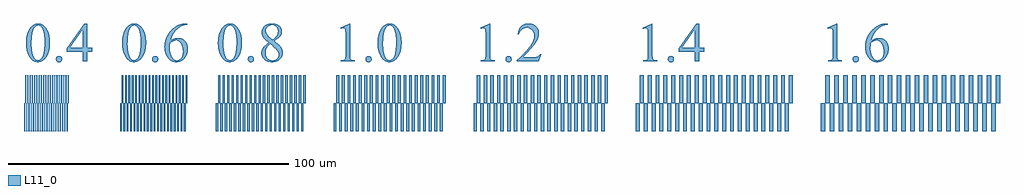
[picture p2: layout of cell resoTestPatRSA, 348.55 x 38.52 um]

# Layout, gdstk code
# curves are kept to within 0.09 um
import gdstk
lib = gdstk.Library(unit=1e-6, precision=1e-09)
def R(c, l, rs):  # rectangles x0, y0, x1, y1
    for r in rs: c.add(gdstk.rectangle(r[:2], r[2:], *l))
def A(c, l, x, y, w, h, nx, ny, dx, dy):  # array of equal rectangles
    R(c, l, [(x+i*dx, y+j*dy, x+i*dx+w, y+j*dy+h) for i in range(nx) for j in range(ny)])
def P(c, l, *ps):  # polygons
    for p in ps: c.add(gdstk.Polygon(p, *l))
L11_0 = (11, 0)

resotestpatrsa = lib.new_cell('resoTestPatRSA')
A(resotestpatrsa, L11_0, 0, 0, 0.4, 10, 6, 1, 0.8, 0)
A(resotestpatrsa, L11_0, 11.2, 0, 0.4, 10, 3, 1, 1.6, 0)
A(resotestpatrsa, L11_0, 36.713, 0, 0.6, 10, 3, 1, 6, 0)
A(resotestpatrsa, L11_0, 68.547, 0, 0.8, 10, 20, 1, 1.6, 0)
A(resotestpatrsa, L11_0, 110.547, 0, 1, 10, 20, 1, 2, 0)
A(resotestpatrsa, L11_0, 160.547, 0, 1.2, 10, 20, 1, 2.4, 0)
A(resotestpatrsa, L11_0, 218.547, 0, 1.4, 10, 20, 1, 2.8, 0)
A(resotestpatrsa, L11_0, 284.547, 0, 1.6, 10, 20, 1, 3.2, 0)
A(resotestpatrsa, L11_0, 0.4, 10, 0.4, 10, 6, 1, 0.8, 0)
A(resotestpatrsa, L11_0, 7.6, 10, 0.4, 10, 3, 1, 0.8, 0)
A(resotestpatrsa, L11_0, 69.347, 10, 0.8, 10, 20, 1, 1.6, 0)
A(resotestpatrsa, L11_0, 111.547, 10, 1, 10, 20, 1, 2, 0)
A(resotestpatrsa, L11_0, 161.747, 10, 1.2, 10, 20, 1, 2.4, 0)
A(resotestpatrsa, L11_0, 219.947, 10, 1.4, 10, 20, 1, 2.8, 0)
A(resotestpatrsa, L11_0, 286.147, 10, 1.6, 10, 20, 1, 3.2, 0)
R(resotestpatrsa, L11_0, [(6.4,0,6.8,10), (8,0,8.4,10), (8.8,0,9.2,10), (10.4,0,10.8,10), (15.2,0,15.6,10), (34.313,0,34.912,10), (35.513,0,36.112,10), (37.912,0,38.513,10), (39.112,0,39.713,10), (40.313,0,40.912,10), (41.513,0,42.112,10), (43.912,0,44.513,10), (45.112,0,45.713,10), (46.313,0,46.912,10), (47.513,0,48.112,10), (49.912,0,50.513,10), (53.513,0,54.112,10), (10.8,10,11.2,20), (12.4,10,12.8,20), (13.2,10,13.6,20), (14.8,10,15.2,20), (15.6,10,16,20), (34.912,10,35.513,20), (36.112,10,36.713,20), (37.313,10,37.912,20), (38.513,10,39.112,20), (39.713,10,40.313,20), (40.912,10,41.513,20), (42.112,10,42.713,20), (43.313,10,43.912,20), (44.513,10,45.112,20), (45.713,10,46.313,20), (46.912,10,47.513,20), (48.112,10,48.713,20), (49.313,10,49.912,20), (50.513,10,51.112,20), (56.513,10,57.112,20)])
P(resotestpatrsa, L11_0, [(4.8,0),(4.8,10),(5.2,10),(5.2,20),(5.6,20),(5.6,10),(5.2,10),(5.2,0)],
  [(5.6,0),(5.6,10),(6,10),(6,20),(6.4,20),(6.4,10),(6,10),(6,0)],
  [(7.2,0),(7.2,10),(6.8,10),(6.8,20),(7.2,20),(7.2,10),(7.6,10),(7.6,0)],
  [(9.6,0),(9.6,10),(10,10),(10,20),(10.4,20),(10.4,10),(10,10),(10,0)],
  [(12,0),(12,10),(11.6,10),(11.6,20),(12,20),(12,10),(12.4,10),(12.4,0)],
  [(13.6,0),(13.6,10),(14,10),(14,20),(14.4,20),(14.4,10),(14,10),(14,0)],
  [(12.5,24.719),(11.734,25.039),(11.422,25.813),(11.734,26.578),(12.5,26.891),(13.266,26.578),(13.578,25.813),(13.266,25.039)],
  [(4.938,24.766),(3.977,24.923),(3.133,25.375),(5.035,25.377),(5.645,25.561),(6.388,26.211),(6.884,27.301),(7.288,29.766),(7.359,32.995),(7.066,35.358),(6.443,37.011),(6,37.547),(5.431,37.829),(4.745,37.847),(4.146,37.568),(3.675,37.064),(3.284,36.315),(2.832,34.292),(2.647,30.793),(2.988,27.891),(3.348,26.753),(3.762,26.008),(4.337,25.518),(4.969,25.375),(3.133,25.375),(2.107,26.476),(1.475,27.61),(1.055,28.801),(0.785,30.267),(0.719,31.688),(1.044,34.363),(1.406,35.445),(1.983,36.552),(2.621,37.361),(3.442,38.025),(4.236,38.393),(5.047,38.516),(5.876,38.393),(6.658,38.026),(7.472,37.331),(8.133,36.467),(8.635,35.485),(8.994,34.372),(9.281,31.606),(8.967,28.903),(8.069,26.745),(7.419,25.911),(6.675,25.322),(5.796,24.905)],
  [(20.922,25),(20.922,28.5),(15.313,28.5),(15.313,29.75),(15.411,29.891),(20.922,29.891),(20.922,36.453),(16.266,29.891),(15.411,29.891),(21.453,38.516),(22.531,38.516),(22.531,29.891),(24.313,29.891),(24.313,28.5),(22.531,28.5),(22.531,25)],
  [(51.112,0),(51.112,10),(51.713,10),(51.713,20),(52.313,20),(52.313,10),(51.713,10),(51.713,0)],
  [(52.313,0),(52.313,10),(52.912,10),(52.912,20),(53.513,20),(53.513,10),(52.912,10),(52.912,0)],
  [(54.713,0),(54.713,10),(54.112,10),(54.112,20),(54.713,20),(54.713,10),(55.313,10),(55.313,0)],
  [(55.912,0),(55.912,10),(55.313,10),(55.313,20),(55.912,20),(55.912,10),(56.513,10),(56.513,0)],
  [(57.112,0),(57.112,10),(57.713,10),(57.713,20),(58.313,20),(58.313,10),(57.713,10),(57.713,0)],
  [(46.813,24.719),(46.047,25.039),(45.734,25.813),(46.047,26.578),(46.813,26.891),(47.578,26.578),(47.891,25.813),(47.578,25.039)],
  [(39.25,24.766),(38.29,24.923),(37.446,25.375),(39.348,25.377),(39.958,25.561),(40.701,26.211),(41.196,27.301),(41.601,29.766),(41.671,32.995),(41.378,35.358),(40.755,37.011),(40.313,37.547),(39.744,37.829),(39.057,37.847),(38.459,37.568),(37.988,37.064),(37.597,36.315),(37.145,34.292),(36.959,30.793),(37.3,27.891),(37.661,26.753),(38.074,26.008),(38.65,25.518),(39.281,25.375),(37.446,25.375),(36.42,26.476),(35.788,27.61),(35.367,28.801),(35.115,30.113),(35.032,31.688),(35.356,34.363),(36.243,36.469),(36.933,37.361),(37.643,37.953),(38.491,38.375),(39.359,38.516),(40.278,38.365),(41.055,37.97),(41.863,37.245),(42.526,36.335),(43.008,35.334),(43.346,34.202),(43.593,31.606),(43.251,28.789),(42.331,26.666),(41.673,25.852),(40.924,25.283),(40.108,24.905)],
  [(54.328,24.766),(53.293,24.915),(52.471,25.313),(55.077,25.376),(55.744,25.728),(56.324,26.385),(56.703,27.389),(56.791,28.713),(56.609,30.045),(56.174,31.212),(55.446,32.128),(54.474,32.505),(53.461,32.359),(52.203,31.688),(52.043,29.19),(52.466,27.249),(52.87,26.424),(53.406,25.766),(53.957,25.426),(54.609,25.313),(52.471,25.313),(51.175,26.668),(50.412,28.33),(50.173,30.313),(50.478,32.45),(50.974,33.769),(51.685,34.993),(52.599,36.098),(53.66,37.049),(54.693,37.738),(55.761,38.187),(57.048,38.474),(58.281,38.516),(58.281,38.156),(56.275,37.688),(55.464,37.223),(54.563,36.461),(53.309,34.824),(52.464,32.721),(52.375,32.391),(53.605,33.053),(54.748,33.336),(56.233,33.179),(56.956,32.794),(57.668,32.126),(58.116,31.44),(58.429,30.561),(58.547,29.453),(58.448,28.445),(58.109,27.4),(57.594,26.508),(56.88,25.697),(56.129,25.18),(55.278,24.869)],
  [(81.047,24.719),(80.281,25.039),(79.969,25.813),(80.281,26.578),(81.047,26.891),(81.813,26.578),(82.125,25.813),(81.813,25.039)],
  [(73.484,24.766),(72.524,24.923),(71.68,25.375),(73.582,25.377),(74.192,25.561),(74.935,26.211),(75.431,27.301),(75.835,29.766),(75.905,32.995),(75.636,35.254),(74.99,37.011),(74.547,37.547),(73.978,37.829),(73.292,37.847),(72.693,37.568),(72.222,37.064),(71.831,36.315),(71.379,34.292),(71.193,30.793),(71.535,27.891),(71.895,26.753),(72.309,26.008),(72.884,25.518),(73.516,25.375),(71.68,25.375),(70.654,26.476),(70.022,27.61),(69.602,28.801),(69.332,30.267),(69.266,31.688),(69.591,34.363),(70.477,36.469),(71.167,37.361),(71.877,37.953),(72.725,38.375),(73.594,38.516),(74.512,38.365),(75.289,37.97),(76.097,37.245),(76.76,36.335),(77.242,35.334),(77.581,34.202),(77.826,31.464),(77.485,28.789),(76.565,26.666),(75.966,25.911),(75.222,25.322),(74.405,24.925)],
  [(88.531,24.766),(87.338,24.906),(86.387,25.297),(88.883,25.302),(89.695,25.464),(90.598,26.122),(91.006,27.121),(90.963,27.836),(90.686,28.523),(89.023,30.315),(87.844,31.297),(86.691,29.905),(86.256,28.295),(86.363,27.128),(86.854,26.151),(87.664,25.511),(88.688,25.297),(86.387,25.297),(86.176,25.434),(85.594,25.953),(85.122,26.62),(84.846,27.331),(84.766,28.07),(84.951,28.998),(85.428,29.867),(86.154,30.67),(87.391,31.672),(86.204,32.719),(88.922,32.719),(90.051,33.856),(90.543,34.69),(90.705,36.073),(90.307,37.174),(89.868,37.595),(89.357,37.841),(88.093,37.917),(87.288,37.628),(86.71,37.113),(86.389,36.491),(86.353,35.71),(86.586,35.008),(87.04,34.335),(88.922,32.719),(86.204,32.719),(85.253,33.931),(84.97,34.735),(84.915,35.599),(85.096,36.424),(85.464,37.098),(86.09,37.752),(86.814,38.188),(87.577,38.425),(88.547,38.516),(89.665,38.394),(90.605,38.028),(91.465,37.315),(91.972,36.47),(92.091,35.39),(91.703,34.341),(90.895,33.419),(89.375,32.328),(91.656,30.25),(92.207,29.223),(92.391,28.141),(92.091,26.776),(91.261,25.697),(90.098,25.014)],
  [(123.047,24.719),(122.281,25.039),(121.969,25.813),(122.281,26.578),(123.047,26.891),(123.813,26.578),(124.125,25.813),(123.813,25.039)],
  [(113.125,25),(113.125,25.359),(114.299,25.505),(114.614,25.743),(114.767,26.083),(114.822,35.14),(114.746,36.287),(114.499,36.779),(113.952,36.933),(113.031,36.641),(112.891,36.938),(116.109,38.516),(116.438,38.516),(116.482,26.198),(116.782,25.605),(117.218,25.431),(118.109,25.359),(118.109,25)],
  [(130.484,24.766),(129.524,24.923),(128.68,25.375),(130.582,25.377),(131.192,25.561),(131.935,26.211),(132.431,27.301),(132.835,29.766),(132.905,32.995),(132.636,35.254),(131.99,37.011),(131.547,37.547),(130.978,37.829),(130.292,37.847),(129.693,37.568),(129.222,37.064),(128.831,36.315),(128.379,34.292),(128.193,30.793),(128.535,27.891),(128.895,26.753),(129.309,26.008),(129.884,25.518),(130.516,25.375),(128.68,25.375),(127.654,26.476),(127.022,27.61),(126.602,28.801),(126.332,30.267),(126.266,31.688),(126.591,34.363),(127.477,36.469),(128.167,37.361),(128.877,37.953),(129.725,38.375),(130.594,38.516),(131.512,38.365),(132.289,37.97),(133.097,37.245),(133.76,36.335),(134.242,35.334),(134.581,34.202),(134.826,31.464),(134.485,28.789),(133.565,26.666),(132.966,25.911),(132.222,25.322),(131.405,24.925)],
  [(173.047,24.719),(172.281,25.039),(171.969,25.813),(172.281,26.578),(173.047,26.891),(173.813,26.578),(174.125,25.813),(173.813,25.039)],
  [(163.125,25),(163.125,25.359),(164.299,25.505),(164.614,25.743),(164.767,26.083),(164.822,35.14),(164.746,36.287),(164.499,36.779),(163.952,36.933),(163.031,36.641),(162.891,36.938),(166.109,38.516),(166.438,38.516),(166.482,26.198),(166.782,25.605),(167.218,25.431),(168.109,25.359),(168.109,25)],
  [(175.984,25),(175.984,25.359),(178.914,28.213),(180.828,30.492),(181.789,32.171),(182.222,33.827),(182.186,34.745),(181.901,35.603),(181.363,36.308),(180.672,36.789),(179.442,37.011),(178.267,36.695),(177.343,35.944),(176.719,34.781),(176.359,34.781),(176.76,36.284),(177.555,37.486),(178.752,38.273),(180.241,38.515),(181.701,38.225),(182.828,37.484),(183.637,36.359),(183.905,35.134),(183.685,33.658),(183.08,32.331),(182.021,30.765),(178.063,26.469),(182.936,26.537),(183.766,26.867),(184.359,27.547),(184.719,27.547),(183.797,25)],
  [(231.047,24.719),(230.281,25.039),(229.969,25.813),(230.281,26.578),(231.047,26.891),(231.813,26.578),(232.125,25.813),(231.813,25.039)],
  [(221.125,25),(221.125,25.359),(222.299,25.505),(222.614,25.743),(222.767,26.083),(222.822,35.14),(222.746,36.287),(222.499,36.779),(221.952,36.933),(221.031,36.641),(220.891,36.938),(224.109,38.516),(224.438,38.516),(224.482,26.198),(224.782,25.605),(225.218,25.431),(226.109,25.359),(226.109,25)],
  [(239.469,25),(239.469,28.5),(233.859,28.5),(233.859,29.75),(233.958,29.891),(239.469,29.891),(239.469,36.453),(234.813,29.891),(233.958,29.891),(240,38.516),(241.078,38.516),(241.078,29.891),(242.859,29.891),(242.859,28.5),(241.078,28.5),(241.078,25)],
  [(297.047,24.719),(296.281,25.039),(295.969,25.813),(296.281,26.578),(297.047,26.891),(297.813,26.578),(298.125,25.813),(297.813,25.039)],
  [(287.125,25),(287.125,25.359),(288.299,25.505),(288.614,25.743),(288.767,26.083),(288.822,35.14),(288.746,36.287),(288.499,36.779),(287.952,36.933),(287.031,36.641),(286.891,36.938),(290.109,38.516),(290.438,38.516),(290.482,26.198),(290.782,25.605),(291.218,25.431),(292.109,25.359),(292.109,25)],
  [(304.563,24.766),(303.602,24.893),(302.705,25.313),(305.312,25.376),(305.978,25.728),(306.523,26.329),(306.922,27.312),(307.031,28.509),(306.885,29.865),(306.448,31.134),(305.736,32.083),(304.78,32.496),(303.802,32.396),(302.438,31.688),(302.278,29.19),(302.701,27.249),(303.105,26.424),(303.641,25.766),(304.191,25.426),(304.844,25.313),(302.705,25.313),(301.409,26.668),(300.646,28.33),(300.407,30.313),(300.712,32.45),(301.208,33.769),(301.919,34.993),(302.756,36.017),(303.894,37.049),(304.927,37.738),(305.995,38.187),(307.283,38.474),(308.516,38.516),(308.516,38.156),(307.34,37.965),(306.406,37.641),(304.797,36.461),(303.543,34.824),(302.698,32.721),(302.609,32.391),(303.752,33.018),(304.982,33.336),(306.467,33.179),(307.19,32.794),(307.843,32.197),(308.351,31.44),(308.663,30.561),(308.781,29.453),(308.682,28.445),(308.344,27.4),(307.828,26.508),(307.201,25.777),(306.463,25.233),(305.513,24.869)])

lib.write_gds('resoTestPatRSA.gds')
